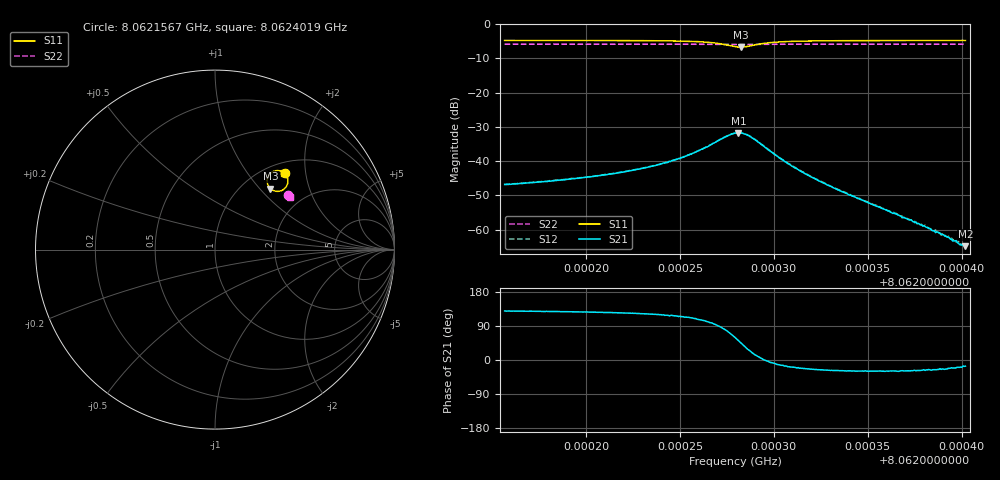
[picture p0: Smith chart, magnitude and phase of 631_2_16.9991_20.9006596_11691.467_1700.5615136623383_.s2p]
#  HZ  S  RI  R  50.00
! Rohde & Schwarz Vector Network Analyzer
! Rohde-Schwarz,ZNB20-2Port,1311601062101988,3.16
! Created: UTC 3/20/2024, 11:20:20 PM
! freq[Hz]  re:S11  im:S11  re:S21  im:S21  re:S12  im:S12  re:S22  im:S22
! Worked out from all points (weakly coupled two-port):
!   401 points, 8.0621567 GHz to 8.0624019 GHz, reference 50 ohm
!   highest |S21| = -31.81 dB at 8.0622812 GHz (marker M1); lowest = -64.9 dB at 8.0624019 GHz (marker M2)
!   lowest |S11| = -6.8 dB at 8.0622824 GHz (marker M3), VSWR 2.70, Z = 66.5 + j57.3 ohm
!   |S11| at or under -10 dB: nowhere
!   |S22| runs from -6.0 to -5.9 dB; largest |S21 - S12| = 0.0015
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8.06215671e9  0.3885 0.4248  -0.00289 0.00351  -0.00266 0.00371  0.4078 0.3028
8.06219778e9  0.3941 0.4184  -0.00342 0.00456  -0.00316 0.00478  0.4094 0.3006
8.06222047e9  0.3982 0.4121  -0.00389 0.00576  -0.0036 0.00603  0.4102 0.2992
8.06223886e9  0.4028 0.4025  -0.0044 0.00771  -0.00399 0.00799  0.4107 0.2978
8.06225112e9  0.4059 0.3907  -0.0047 0.0103  -0.00402 0.0106  0.4112 0.2968
8.06226093e9  0.4057 0.373  -0.00403 0.0141  -0.00319 0.0142  0.4113 0.2955
8.06226706e9  0.3998 0.3555  -0.00238 0.0175  -0.00121 0.0177  0.4109 0.2948
8.06227564e9  0.3642 0.3266  0.00622 0.0226  0.0076 0.0226  0.4095 0.2933
8.06227932e9  0.334 0.3263  0.0129 0.022  0.0141 0.0213  0.4083 0.2934
8.06228116e9  0.3181 0.3331  0.0161 0.02  0.0173 0.0193  0.4076 0.2939
8.06228239e9  0.3088 0.3403  0.0179 0.0182  0.019 0.0175  0.4074 0.2942
8.06228729e9  0.2906 0.3797  0.0208 0.00925  0.0217 0.00808  0.4074 0.296
8.06229649e9  0.3126 0.4278  0.015 -0.000701  0.0151 -0.00163  0.4092 0.2974
8.06230813e9  0.3414 0.4398  0.00854 -0.00272  0.00853 -0.00321  0.411 0.297
8.06232039e9  0.3574 0.4396  0.00524 -0.00237  0.00522 -0.00271  0.4121 0.2963
8.06233266e9  0.3663 0.4374  0.00351 -0.00184  0.00344 -0.00206  0.4128 0.2954
8.06236147e9  0.377 0.4329  0.00161 -0.000907  0.00157 -0.000997  0.4143 0.2936
8.0623817e9  0.3814 0.4303  0.000963 -0.000468  0.000933 -0.000547  0.4149 0.2925
8.06238783e9  0.3824 0.4297  0.000806 -0.000372  0.000788 -0.000441  0.4153 0.2921
8.06239703e9  0.3838 0.4287  0.000645 -0.00024  0.0006 -0.000261  0.4158 0.2915
8.06240009e9  0.3843 0.4284  0.00057 -0.000199  0.000544 -0.000219  0.4157 0.2916
8.06240193e9  0.3845 0.4282  0.000549 -0.000158  0.000538 -0.000243  0.4157 0.2913
